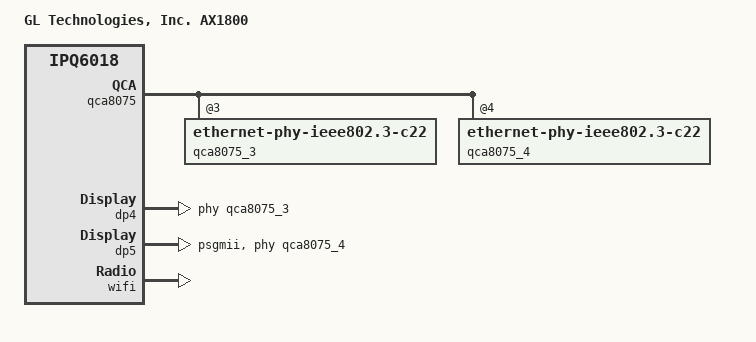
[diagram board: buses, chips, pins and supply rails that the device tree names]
// SPDX-License-Identifier: GPL-2.0-or-later OR MIT

/dts-v1/;

#include "ipq6000-glinet.dtsi"

/ {
	model = "GL Technologies, Inc. AX1800";
	compatible = "glinet,gl-ax1800", "qcom,ipq6018";

	aliases {
		ethernet3 = &dp4;
		ethernet4 = &dp5;
	};
};

&qca8075 {
	qca8075_3: ethernet-phy@3 {
		compatible = "ethernet-phy-ieee802.3-c22";
		reg = <3>;
	};

	qca8075_4: ethernet-phy@4 {
		compatible = "ethernet-phy-ieee802.3-c22";
		reg = <4>;
	};
};

&switch {
	switch_lan_bmp = <(ESS_PORT2|ESS_PORT3|ESS_PORT4|ESS_PORT5)>; /* lan port bitmap */

	qcom,port_phyinfo {
		port@3 {
			port_id = <4>;
			phy_address = <3>;
		};
		port@4 {
			port_id = <5>;
			phy_address = <4>;
		};
	};
};

&dp4 {
	phy-handle = <&qca8075_3>;
	status = "okay";
};

&dp5 {
	phy-handle = <&qca8075_4>;
	phy-mode = "psgmii";
	status = "okay";
};

&wifi {
	qcom,ath11k-calibration-variant = "GL-iNet-GL-AX1800";
};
